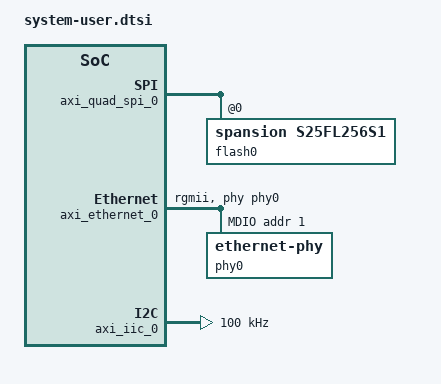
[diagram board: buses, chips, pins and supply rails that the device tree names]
/include/ "system-conf.dtsi"

&axi_quad_spi_0 {
	#address-cells = <1>;
	#size-cells = <0>;
	flash0: flash@0 {
		compatible = "spansion,s25fl256s1","jedec,spi-nor";
	};
};

&axi_ethernet_0 {
	compatible = "xlnx,axi-ethernet-1.00.a";
        phy-mode = "rgmii";
        phy-handle = <&phy0>;
	xlnx,rxcsum = <0x2>;
        xlnx,rxmem = <0x800>;
        xlnx,txcsum = <0x2>;

        mdio {
            #address-cells = <1>;
            #size-cells = <0>;
            phy0: ethernet-phy@1 {
                device_type = "ethernet-phy";
                reg = <1>;
	    };
	};
};

&axi_iic_0 {
	clock-frequency = <100000>;
};

